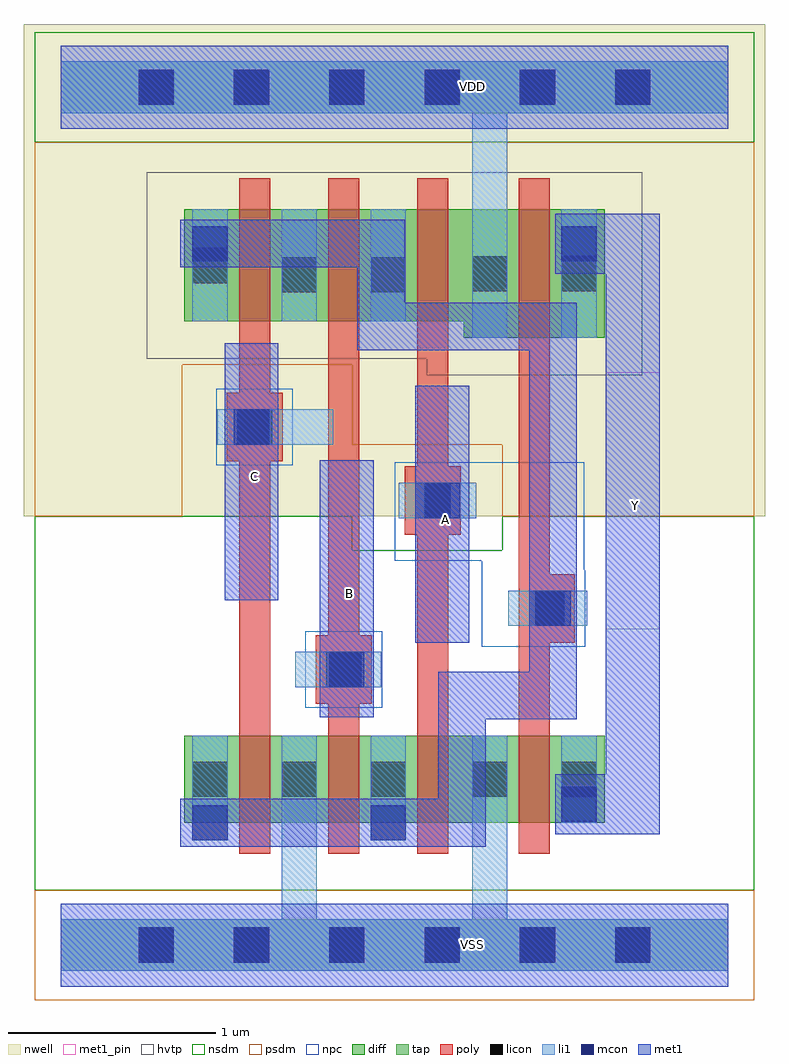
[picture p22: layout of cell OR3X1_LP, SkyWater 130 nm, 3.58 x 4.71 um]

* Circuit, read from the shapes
.subckt OR3X1_LP A B C VDD VSS Y
XM1 VSS C n1 VSS sky130_fd_pr__nfet_01v8 w=0.42 l=0.15
XM2 n1 B VSS VSS sky130_fd_pr__nfet_01v8 w=0.42 l=0.15
XM3 VSS A n1 VSS sky130_fd_pr__nfet_01v8 w=0.42 l=0.15
XM4 Y n1 VSS VSS sky130_fd_pr__nfet_01v8 w=0.42 l=0.15
XM5 n2 C n1 VDD sky130_fd_pr__pfet_01v8_hvt w=0.54 l=0.15
XM6 n3 B n2 VDD sky130_fd_pr__pfet_01v8_hvt w=0.54 l=0.15
XM7 VDD A n3 VDD sky130_fd_pr__pfet_01v8_hvt w=0.54 l=0.15
XM8 Y n1 VDD VDD sky130_fd_pr__pfet_01v8_hvt w=0.62 l=0.15
.ends

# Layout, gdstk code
from math import pi, radians
import gdstk
lib = gdstk.Library(unit=1e-6, precision=1e-09)
def R(c, l, rs):  # rectangles x0, y0, x1, y1
    for r in rs: c.add(gdstk.rectangle(r[:2], r[2:], *l))
def A(c, l, x, y, w, h, nx, ny, dx, dy):  # array of equal rectangles
    R(c, l, [(x+i*dx, y+j*dy, x+i*dx+w, y+j*dy+h) for i in range(nx) for j in range(ny)])
def P(c, l, *ps):  # polygons
    for p in ps: c.add(gdstk.Polygon(p, *l))
nwell = (64, 20)
diff = (65, 20)
tap = (65, 44)
poly = (66, 20)
licon = (66, 44)
li1 = (67, 20)
mcon = (67, 44)
met1_pin = (68, 16)
met1 = (68, 20)
hvtp = (78, 44)
nsdm = (93, 44)
psdm = (94, 20)
npc = (95, 20)

l1m1_c_cdns_758729379651 = lib.new_cell('L1M1_C_CDNS_7587293796513')
R(l1m1_c_cdns_758729379651, li1, [(-0.085,-0.085,0.085,0.165)])
R(l1m1_c_cdns_758729379651, mcon, [(-0.085,-0.085,0.085,0.085)])
R(l1m1_c_cdns_758729379651, met1, [(-0.115,-0.145,0.115,0.145)])

l1m1_c_cdns_758729379655 = lib.new_cell('L1M1_C_CDNS_758729379655')
R(l1m1_c_cdns_758729379655, li1, [(-0.085,-0.165,0.085,0.165)])
R(l1m1_c_cdns_758729379655, mcon, [(-0.085,-0.085,0.085,0.085)])
R(l1m1_c_cdns_758729379655, met1, [(-0.115,-0.145,0.115,0.145)])

pyl1con_c_cdns_758729379 = lib.new_cell('PYL1CON_C_CDNS_758729379653')
R(pyl1con_c_cdns_758729379, poly, [(-0.135,-0.165,0.135,0.165)])
R(pyl1con_c_cdns_758729379, licon, [(-0.085,-0.085,0.085,0.085)])
R(pyl1con_c_cdns_758729379, npc, [(-0.185,-0.185,0.185,0.185)])

l1m1_c_cdns_758729379654 = lib.new_cell('L1M1_C_CDNS_758729379654')
R(l1m1_c_cdns_758729379654, li1, [(-0.165,-0.085,0.165,0.085)])
R(l1m1_c_cdns_758729379654, mcon, [(-0.085,-0.085,0.085,0.085)])
R(l1m1_c_cdns_758729379654, met1, [(-0.115,-0.145,0.115,0.145)])

l1m1_c_cdns_758729379652 = lib.new_cell('L1M1_C_CDNS_758729379652')
R(l1m1_c_cdns_758729379652, li1, [(-0.085,-0.165,0.085,0.165)])
R(l1m1_c_cdns_758729379652, mcon, [(-0.085,-0.085,0.085,0.085)])
R(l1m1_c_cdns_758729379652, met1, [(-0.145,-0.115,0.145,0.115)])

licondiff_c_cdns_7587293 = lib.new_cell('LICONDIFF_C_CDNS_758729379657')
R(licondiff_c_cdns_7587293, diff, [(-0.125,-0.145,0.125,0.145)])
R(licondiff_c_cdns_7587293, licon, [(-0.085,-0.085,0.085,0.085), (-0.085,-0.085,0.085,0.085)])

l1m1_c_cdns_758729379650 = lib.new_cell('L1M1_C_CDNS_758729379650')
R(l1m1_c_cdns_758729379650, li1, [(-0.085,-0.085,0.085,0.165)])
R(l1m1_c_cdns_758729379650, mcon, [(-0.085,-0.085,0.085,0.085)])
R(l1m1_c_cdns_758729379650, met1, [(-0.145,-0.115,0.145,0.115)])

or3x1_lp = lib.new_cell('OR3X1_LP')
R(or3x1_lp, nwell, [(-0.18,2.07,3.4,4.445)])
R(or3x1_lp, diff, [(0.595,0.59,2.625,1.01)])
P(or3x1_lp, diff, [(2.625,3.55),(0.595,3.55),(0.595,3.01),(1.945,3.01),(1.945,2.93),(2.625,2.93)])
A(or3x1_lp, poly, 0.86, 0.44, 0.15, 3.26, 3, 1, 0.43, 0)
R(or3x1_lp, poly, [(2.21,0.44,2.36,3.7)])
A(or3x1_lp, licon, 0.375, -0.085, 0.17, 0.17, 6, 2, 0.46, 4.14)
A(or3x1_lp, licon, 0.635, 0.715, 0.17, 0.17, 3, 1, 0.43, 0)
R(or3x1_lp, licon, [(1.985,0.715,2.155,0.885), (2.415,0.715,2.585,0.885), (1.985,3.155,2.155,3.325), (2.415,3.155,2.585,3.325), (0.635,3.195,0.805,3.365)])
R(or3x1_lp, li1, [(0.635,0.59,0.805,1.01), (1.495,0.59,1.665,1.01), (2.415,0.59,2.585,1.01), (2.415,2.93,2.585,3.55), (0.635,3.01,0.805,3.55)])
P(or3x1_lp, li1, [(3.22,4.265),(0,4.265),(0,4.015),(1.985,4.015),(1.985,2.93),(2.155,2.93),(2.155,4.015),(3.22,4.015)],
  [(3.22,0.125),(2.155,0.125),(2.155,1.01),(1.985,1.01),(1.985,0.125),(1.235,0.125),(1.235,1.01),(1.065,1.01),(1.065,0.125),(0,0.125),(0,-0.125),(3.22,-0.125)])
A(or3x1_lp, mcon, 0.375, -0.085, 0.17, 0.17, 6, 2, 0.46, 4.14)
R(or3x1_lp, met1_pin, [(1.25,1.1,1.51,2.34), (1.71,1.46,1.97,2.7), (2.63,1.525,2.89,2.765), (0.79,1.665,1.05,2.905)])
P(or3x1_lp, met1, [(2.89,3.53),(2.5,3.53),(2.5,3.24),(2.63,3.24),(2.63,0.825),(2.47,0.825),(2.47,0.535),(2.89,0.535)])
P(or3x1_lp, hvtp, [(2.805,3.73),(0.415,3.73),(0.415,2.83),(1.765,2.83),(1.765,2.75),(2.805,2.75)])
R(or3x1_lp, nsdm, [(-0.125,3.875,3.345,4.405)])
P(or3x1_lp, nsdm, [(3.345,2.07),(2.13,2.07),(2.13,1.905),(1.405,1.905),(1.405,2.07),(-0.125,2.07),(-0.125,0.265),(3.345,0.265)])
R(or3x1_lp, psdm, [(-0.125,-0.265,3.345,0.265)])
P(or3x1_lp, psdm, [(3.345,3.875),(-0.125,3.875),(-0.125,2.07),(0.585,2.07),(0.585,2.8),(1.405,2.8),(1.405,2.415),(2.13,2.415),(2.13,2.07),(3.345,2.07)])
P(or3x1_lp, npc, [(2.525,2.33),(1.61,2.33),(1.61,1.855),(2.03,1.855),(2.03,1.44),(2.525,1.44)])
or3x1_lp.add(gdstk.FlexPath([(1.15,3.01),(1.15,3.55)], 0.17, ends="flush", simple_path=True, layer=67, datatype=20))  # li1
or3x1_lp.add(gdstk.FlexPath([(1.215,1.33),(1.38,1.33)], 0.17, ends=(0.085, 0), simple_path=True, layer=67, datatype=20))  # li1
or3x1_lp.add(gdstk.FlexPath([(0.77,2.5),(1.315,2.5)], 0.17, ends="flush", simple_path=True, layer=67, datatype=20))  # li1
or3x1_lp.add(gdstk.FlexPath([(2.16,1.625),(2.515,1.625)], 0.17, ends="flush", simple_path=True, layer=67, datatype=20))  # li1
or3x1_lp.add(gdstk.FlexPath([(1.84,2.145),(1.63,2.145)], 0.17, ends="flush", simple_path=True, layer=67, datatype=20))  # li1
or3x1_lp.add(gdstk.FlexPath([(1.58,3.01),(1.58,3.55)], 0.17, ends="flush", simple_path=True, layer=67, datatype=20))  # li1
or3x1_lp.add(gdstk.FlexPath([(0,4.14),(3.22,4.14)], 0.4, ends="flush", simple_path=True, layer=68, datatype=20))  # met1
or3x1_lp.add(gdstk.FlexPath([(0.92,1.665),(0.92,2.905)], 0.26, ends="flush", simple_path=True, layer=68, datatype=20))  # met1
or3x1_lp.add(gdstk.FlexPath([(0,0),(3.22,0)], 0.4, ends="flush", simple_path=True, layer=68, datatype=20))  # met1
or3x1_lp.add(gdstk.FlexPath([(1.38,1.1),(1.38,2.34)], 0.26, ends="flush", simple_path=True, layer=68, datatype=20))  # met1
or3x1_lp.add(gdstk.FlexPath([(1.84,1.46),(1.84,2.7)], 0.26, ends="flush", simple_path=True, layer=68, datatype=20))  # met1
or3x1_lp.add(gdstk.FlexPath([(0.735,3.385),(1.545,3.385),(1.545,2.985),(2.375,2.985),(2.375,1.205),(1.935,1.205),(1.935,0.59),(0.72,0.59)], 0.23, ends="flush", simple_path=True, layer=68, datatype=20))  # met1
or3x1_lp.add(gdstk.FlexPath([(0,0),(3.22,0)], 0.4, ends="flush", simple_path=True, layer=68, datatype=16))  # met1_pin
or3x1_lp.add(gdstk.FlexPath([(0,4.14),(3.22,4.14)], 0.4, ends="flush", simple_path=True, layer=68, datatype=16))  # met1_pin
or3x1_lp.add(gdstk.FlexPath([(0,4.14),(3.22,4.14)], 0.25, ends="flush", simple_path=True, layer=65, datatype=44))  # tap
or3x1_lp.add(gdstk.FlexPath([(0,0),(3.22,0)], 0.25, ends="flush", simple_path=True, layer=65, datatype=44))  # tap
or3x1_lp.add(gdstk.Reference(l1m1_c_cdns_758729379651, (2.5,0.68)))
or3x1_lp.add(gdstk.Reference(l1m1_c_cdns_758729379655, (2.5,3.385)))
or3x1_lp.add(gdstk.Reference(pyl1con_c_cdns_758729379, (0.935,2.5), rotation=pi, x_reflection=True))
or3x1_lp.add(gdstk.Reference(pyl1con_c_cdns_758729379, (1.365,1.33), rotation=pi))
or3x1_lp.add(gdstk.Reference(pyl1con_c_cdns_758729379, (1.795,2.145), rotation=pi))
or3x1_lp.add(gdstk.Reference(pyl1con_c_cdns_758729379, (2.345,1.625)))
or3x1_lp.add(gdstk.Reference(l1m1_c_cdns_758729379654, (1.38,1.33), x_reflection=True))
or3x1_lp.add(gdstk.Reference(l1m1_c_cdns_758729379654, (1.84,2.145), x_reflection=True))
or3x1_lp.add(gdstk.Reference(l1m1_c_cdns_758729379654, (2.375,1.625)))
or3x1_lp.add(gdstk.Reference(l1m1_c_cdns_758729379654, (0.92,2.5), x_reflection=True))
or3x1_lp.add(gdstk.Reference(l1m1_c_cdns_758729379652, (0.72,3.385)))
or3x1_lp.add(gdstk.Reference(licondiff_c_cdns_7587293, (1.15,3.235)))
or3x1_lp.add(gdstk.Reference(licondiff_c_cdns_7587293, (1.58,3.235)))
or3x1_lp.add(gdstk.Reference(l1m1_c_cdns_758729379650, (0.72,0.59)))
or3x1_lp.add(gdstk.Reference(l1m1_c_cdns_758729379650, (1.58,0.59)))
or3x1_lp.add(gdstk.Label('VSS', (1.985,0.005), layer=68, texttype=5))
or3x1_lp.add(gdstk.Label('VDD', (1.985,4.145), layer=68, texttype=5))
or3x1_lp.add(gdstk.Label('VDD', (1.985,4.145), layer=68, texttype=5))
or3x1_lp.add(gdstk.Label('B', (1.395,1.695), layer=68, texttype=5))
or3x1_lp.add(gdstk.Label('Y', (2.775,2.12), layer=68, texttype=5))
or3x1_lp.add(gdstk.Label('A', (1.855,2.055), layer=68, texttype=5))
or3x1_lp.add(gdstk.Label('C', (0.935,2.26), layer=68, texttype=5))

lib.write_gds('OR3X1_LP.gds')
